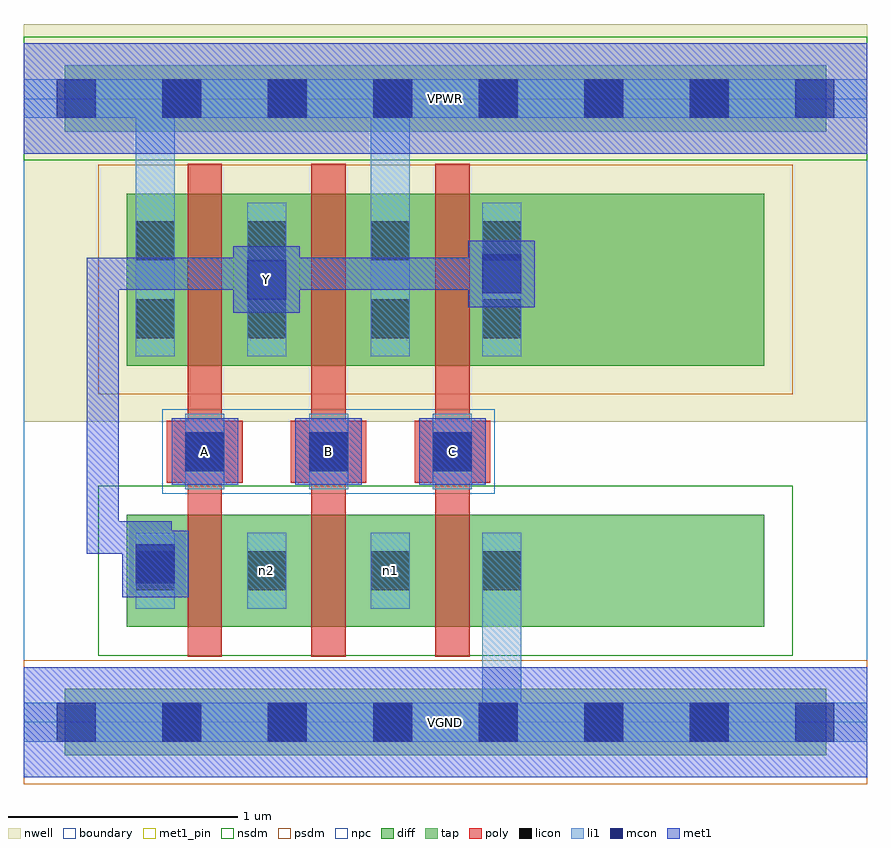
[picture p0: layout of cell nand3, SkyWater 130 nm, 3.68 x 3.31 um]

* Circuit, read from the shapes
.subckt nand3 A B C VGND VPWR Y n1 n2
XM1 n2 A Y VGND sky130_fd_pr__nfet_01v8 w=0.49 l=0.15
XM2 n1 B n2 VGND sky130_fd_pr__nfet_01v8 w=0.49 l=0.15
XM3 VGND C n1 VGND sky130_fd_pr__nfet_01v8 w=0.49 l=0.15
XM4 Y A VPWR VPWR sky130_fd_pr__pfet_01v8 w=0.75 l=0.15
XM5 VPWR B Y VPWR sky130_fd_pr__pfet_01v8 w=0.75 l=0.15
XM6 Y C VPWR VPWR sky130_fd_pr__pfet_01v8 w=0.75 l=0.15
.ends

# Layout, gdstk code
import gdstk
lib = gdstk.Library(unit=1e-6, precision=1e-09)
def R(c, l, rs):  # rectangles x0, y0, x1, y1
    for r in rs: c.add(gdstk.rectangle(r[:2], r[2:], *l))
def A(c, l, x, y, w, h, nx, ny, dx, dy):  # array of equal rectangles
    R(c, l, [(x+i*dx, y+j*dy, x+i*dx+w, y+j*dy+h) for i in range(nx) for j in range(ny)])
nwell = (64, 20)
diff = (65, 20)
tap = (65, 44)
poly = (66, 20)
licon = (66, 44)
li1 = (67, 20)
mcon = (67, 44)
met1_pin = (68, 16)
met1 = (68, 20)
nsdm = (93, 44)
psdm = (94, 20)
npc = (95, 20)
boundary = (235, 4)

nand3 = lib.new_cell('nand3')
R(nand3, nwell, [(0,1.31,3.68,3.045)])
R(nand3, diff, [(0.45,0.415,3.23,0.905), (0.45,1.555,3.23,2.305)])
R(nand3, tap, [(0.18,-0.145,3.5,0.145), (0.18,2.575,3.5,2.865)])
A(nand3, poly, 0.715, 0.285, 0.15, 2.15, 3, 1, 0.54, 0)
A(nand3, poly, 0.625, 1.045, 0.33, 0.27, 3, 1, 0.54, 0)
A(nand3, licon, 0.605, -0.085, 0.17, 0.17, 6, 2, 0.46, 2.72)
A(nand3, licon, 0.705, 1.095, 0.17, 0.17, 3, 1, 0.54, 0)
R(nand3, licon, [(0.49,0.575,0.66,0.745), (0.975,0.575,1.145,0.745), (1.515,0.575,1.685,0.745), (2,0.575,2.17,0.745), (0.49,1.675,0.66,1.845), (0.975,1.675,1.145,1.845), (1.515,1.675,1.685,1.845), (2,1.675,2.17,1.845), (0.49,2.015,0.66,2.185), (0.975,2.015,1.145,2.185), (1.515,2.015,1.685,2.185), (2,2.015,2.17,2.185)])
A(nand3, li1, 0.705, 1.015, 0.17, 0.33, 3, 1, 0.54, 0)
R(nand3, li1, [(0,-0.085,3.68,0.085), (2,-0.085,2.17,0.825), (0.49,0.495,0.66,0.825), (0.975,0.495,1.145,0.825), (1.515,0.495,1.685,0.825), (2,0.495,2.17,0.825), (0.49,1.595,0.66,2.265), (0.49,1.595,0.66,2.805), (0.975,1.595,1.145,2.265), (1.515,1.595,1.685,2.265), (1.515,1.595,1.685,2.805), (2,1.595,2.17,2.265), (0,2.635,3.68,2.805)])
A(nand3, mcon, 0.145, -0.085, 0.17, 0.17, 8, 2, 0.46, 2.72)
A(nand3, mcon, 0.705, 1.095, 0.17, 0.17, 3, 1, 0.54, 0)
R(nand3, mcon, [(0.49,0.605,0.66,0.775), (0.975,1.845,1.145,2.015), (2,1.87,2.17,2.04)])
A(nand3, met1_pin, 0.645, 1.035, 0.29, 0.29, 3, 1, 0.54, 0)
R(nand3, met1_pin, [(0,-0.24,3.68,0.24), (0.915,1.785,1.205,2.075), (0,2.48,3.68,2.96)])
A(nand3, met1, 0.645, 1.035, 0.29, 0.29, 3, 1, 0.54, 0)
R(nand3, met1, [(0,-0.24,3.68,0.24), (0.43,0.545,0.72,0.835), (0.505,0.62,0.645,0.875), (0.275,0.735,0.645,0.875), (0.275,0.735,0.415,2.025), (0.915,1.785,1.205,2.075), (1.94,1.81,2.23,2.1), (0.275,1.885,1.105,2.025), (0.965,1.885,1.105,2.025), (0.965,1.885,2.025,2.025), (1.885,1.885,2.155,2.025), (0,2.48,3.68,2.96)])
R(nand3, nsdm, [(0.325,0.29,3.355,1.03), (0,2.45,3.68,2.99)])
R(nand3, psdm, [(0,-0.27,3.68,0.27), (0.325,1.43,3.355,2.43)])
R(nand3, npc, [(0.605,0.995,2.055,1.365)])
R(nand3, boundary, [(0,0,3.68,2.72)])
nand3.add(gdstk.Label('n2', (1.06,0.66), layer=67, texttype=5))
nand3.add(gdstk.Label('n1', (1.6,0.66), layer=67, texttype=5))
nand3.add(gdstk.Label('A', (0.79,1.18), layer=68, texttype=5))
nand3.add(gdstk.Label('B', (1.33,1.18), layer=68, texttype=5))
nand3.add(gdstk.Label('C', (1.87,1.18), layer=68, texttype=5))
nand3.add(gdstk.Label('Y', (1.06,1.93), layer=68, texttype=5))
nand3.add(gdstk.Label('VPWR', (1.84,2.72), layer=68, texttype=5))
nand3.add(gdstk.Label('VGND', (1.84,0), layer=68, texttype=5))
nand3.add(gdstk.Label('A', (0.79,1.18), layer=68, texttype=16))
nand3.add(gdstk.Label('B', (1.33,1.18), layer=68, texttype=16))
nand3.add(gdstk.Label('C', (1.87,1.18), layer=68, texttype=16))
nand3.add(gdstk.Label('Y', (1.06,1.93), layer=68, texttype=16))
nand3.add(gdstk.Label('VPWR', (1.84,2.72), layer=68, texttype=16))
nand3.add(gdstk.Label('VGND', (1.84,0), layer=68, texttype=16))

lib.write_gds('nand3.gds')
